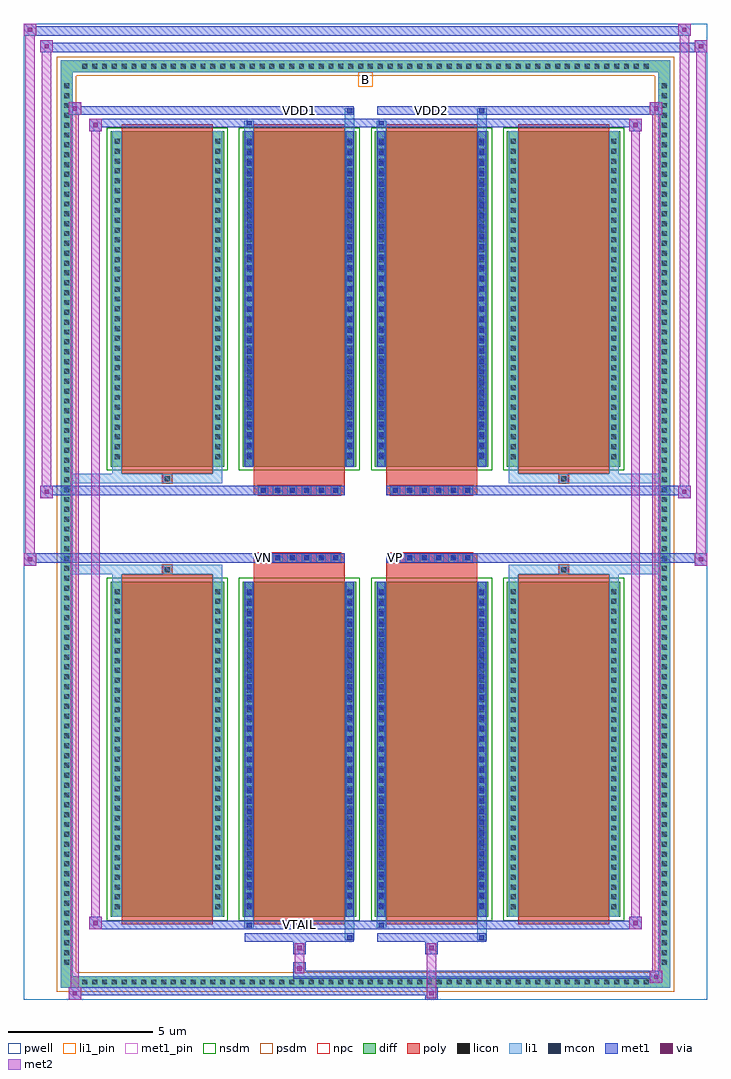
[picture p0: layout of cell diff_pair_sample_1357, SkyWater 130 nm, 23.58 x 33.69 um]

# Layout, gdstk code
import gdstk
lib = gdstk.Library(unit=1e-6, precision=5e-09)
def R(c, l, rs):  # rectangles x0, y0, x1, y1
    for r in rs: c.add(gdstk.rectangle(r[:2], r[2:], *l))
def A(c, l, x, y, w, h, nx, ny, dx, dy):  # array of equal rectangles
    R(c, l, [(x+i*dx, y+j*dy, x+i*dx+w, y+j*dy+h) for i in range(nx) for j in range(ny)])
def P(c, l, *ps):  # polygons
    for p in ps: c.add(gdstk.Polygon(p, *l))
pwell = (64, 44)
diff = (65, 20)
poly = (66, 20)
licon = (66, 44)
li1_pin = (67, 16)
li1 = (67, 20)
mcon = (67, 44)
met1_pin = (68, 16)
met1 = (68, 20)
via = (68, 44)
met2 = (69, 20)
nsdm = (93, 44)
psdm = (94, 20)
npc = (95, 20)

diff_pair_sample_1357 = lib.new_cell('diff_pair_sample_1357')
R(diff_pair_sample_1357, pwell, [(-11.79,-16.41,11.79,17.28), (-9.11,-14.6,-0.01,-0.8), (0.01,-14.6,9.11,-0.8), (-9.11,0.8,-0.01,14.6), (0.01,0.8,9.11,14.6)])
A(diff_pair_sample_1357, diff, -9.895, -16.01, 0.41, 0.41, 58, 2, 0.34, 31.61)
A(diff_pair_sample_1357, diff, -10.52, -15.335, 0.41, 0.41, 1, 90, 0, 0.34)
A(diff_pair_sample_1357, diff, 10.11, -15.335, 0.41, 0.41, 1, 90, 0, 0.34)
A(diff_pair_sample_1357, diff, -8.8, -13.555, 3.92, 11.57, 4, 2, 4.56, 15.54)
R(diff_pair_sample_1357, diff, [(-9.895,-16.01,9.895,-15.6), (-10.52,-15.335,-10.11,15.335), (10.11,-15.335,10.52,15.335), (-9.895,15.6,9.895,16.01)])
P(diff_pair_sample_1357, diff, [(10.52,16.01),(-10.52,16.01),(-10.52,-15.6),(-10.11,-15.6),(-10.11,15.6),(10.11,15.6),(10.11,-15.6),(-10.11,-15.6),(-10.52,-15.6),(-10.52,-16.01),(10.52,-16.01)])
A(diff_pair_sample_1357, poly, -8.41, -13.805, 3.14, 12.07, 4, 2, 4.56, 15.54)
A(diff_pair_sample_1357, poly, -3.695, -1.33, 0.33, 0.33, 6, 2, 0.5, 2.33)
A(diff_pair_sample_1357, poly, 0.865, -1.33, 0.33, 0.33, 6, 2, 0.5, 2.33)
R(diff_pair_sample_1357, poly, [(-7.005,-1.735,-6.675,-1.405), (-7.005,-1.735,-6.675,-1.405), (-3.85,-1.735,-0.71,-1.33), (0.71,-1.735,3.85,-1.33), (6.675,-1.735,7.005,-1.405), (6.675,-1.735,7.005,-1.405), (-3.85,-1.33,-0.71,-1), (0.71,-1.33,3.85,-1), (-3.85,1,-0.71,1.33), (0.71,1,3.85,1.33), (-3.85,1.33,-0.71,1.735), (0.71,1.33,3.85,1.735), (-7.005,1.405,-6.675,1.735), (-7.005,1.405,-6.675,1.735), (6.675,1.405,7.005,1.735), (6.675,1.405,7.005,1.735)])
A(diff_pair_sample_1357, licon, -9.775, -15.89, 0.17, 0.17, 58, 2, 0.34, 31.61)
A(diff_pair_sample_1357, licon, -10.4, -15.215, 0.17, 0.17, 1, 90, 0, 0.34)
A(diff_pair_sample_1357, licon, 10.23, -15.215, 0.17, 0.17, 1, 90, 0, 0.34)
A(diff_pair_sample_1357, licon, -8.66, -13.295, 0.17, 0.17, 1, 33, 0, 0.34)
A(diff_pair_sample_1357, licon, -5.19, -13.295, 0.17, 0.17, 1, 33, 0, 0.34)
A(diff_pair_sample_1357, licon, -4.1, -13.295, 0.17, 0.17, 1, 33, 0, 0.34)
A(diff_pair_sample_1357, licon, -0.63, -13.295, 0.17, 0.17, 1, 33, 0, 0.34)
A(diff_pair_sample_1357, licon, 0.46, -13.295, 0.17, 0.17, 1, 33, 0, 0.34)
A(diff_pair_sample_1357, licon, 3.93, -13.295, 0.17, 0.17, 1, 33, 0, 0.34)
A(diff_pair_sample_1357, licon, 5.02, -13.295, 0.17, 0.17, 1, 33, 0, 0.34)
A(diff_pair_sample_1357, licon, 8.49, -13.295, 0.17, 0.17, 1, 33, 0, 0.34)
A(diff_pair_sample_1357, licon, -3.615, -1.25, 0.17, 0.17, 6, 2, 0.5, 2.33)
A(diff_pair_sample_1357, licon, 0.945, -1.25, 0.17, 0.17, 6, 2, 0.5, 2.33)
A(diff_pair_sample_1357, licon, -8.66, 2.245, 0.17, 0.17, 1, 33, 0, 0.34)
A(diff_pair_sample_1357, licon, -5.19, 2.245, 0.17, 0.17, 1, 33, 0, 0.34)
A(diff_pair_sample_1357, licon, -4.1, 2.245, 0.17, 0.17, 1, 33, 0, 0.34)
A(diff_pair_sample_1357, licon, -0.63, 2.245, 0.17, 0.17, 1, 33, 0, 0.34)
A(diff_pair_sample_1357, licon, 0.46, 2.245, 0.17, 0.17, 1, 33, 0, 0.34)
A(diff_pair_sample_1357, licon, 3.93, 2.245, 0.17, 0.17, 1, 33, 0, 0.34)
A(diff_pair_sample_1357, licon, 5.02, 2.245, 0.17, 0.17, 1, 33, 0, 0.34)
A(diff_pair_sample_1357, licon, 8.49, 2.245, 0.17, 0.17, 1, 33, 0, 0.34)
R(diff_pair_sample_1357, licon, [(-6.925,-1.655,-6.755,-1.485), (6.755,-1.655,6.925,-1.485), (-6.925,1.485,-6.755,1.655), (6.755,1.485,6.925,1.655)])
R(diff_pair_sample_1357, li1_pin, [(-0.25,15.1,0.25,15.6)])
A(diff_pair_sample_1357, li1, -9.855, -15.97, 0.33, 0.33, 58, 2, 0.34, 31.61)
A(diff_pair_sample_1357, li1, -10.48, -15.295, 0.33, 0.33, 1, 90, 0, 0.34)
A(diff_pair_sample_1357, li1, 10.15, -15.295, 0.33, 0.33, 1, 90, 0, 0.34)
A(diff_pair_sample_1357, li1, -8.74, -13.375, 0.33, 0.33, 1, 33, 0, 0.34)
A(diff_pair_sample_1357, li1, -5.27, -13.375, 0.33, 0.33, 1, 33, 0, 0.34)
A(diff_pair_sample_1357, li1, -4.18, -13.375, 0.33, 0.33, 1, 33, 0, 0.34)
A(diff_pair_sample_1357, li1, -0.71, -13.375, 0.33, 0.33, 1, 33, 0, 0.34)
A(diff_pair_sample_1357, li1, 0.38, -13.375, 0.33, 0.33, 1, 33, 0, 0.34)
A(diff_pair_sample_1357, li1, 3.85, -13.375, 0.33, 0.33, 1, 33, 0, 0.34)
A(diff_pair_sample_1357, li1, 4.94, -13.375, 0.33, 0.33, 1, 33, 0, 0.34)
A(diff_pair_sample_1357, li1, 8.41, -13.375, 0.33, 0.33, 1, 33, 0, 0.34)
A(diff_pair_sample_1357, li1, -4.1, -13.255, 0.17, 0.17, 1, 31, 0, 0.36)
A(diff_pair_sample_1357, li1, -0.63, -13.255, 0.17, 0.17, 1, 31, 0, 0.36)
A(diff_pair_sample_1357, li1, 0.46, -13.255, 0.17, 0.17, 1, 31, 0, 0.36)
A(diff_pair_sample_1357, li1, 3.93, -13.255, 0.17, 0.17, 1, 31, 0, 0.36)
A(diff_pair_sample_1357, li1, -3.695, -1.33, 0.33, 0.33, 6, 2, 0.5, 2.33)
A(diff_pair_sample_1357, li1, 0.865, -1.33, 0.33, 0.33, 6, 2, 0.5, 2.33)
A(diff_pair_sample_1357, li1, -8.74, 2.165, 0.33, 0.33, 1, 33, 0, 0.34)
A(diff_pair_sample_1357, li1, -5.27, 2.165, 0.33, 0.33, 1, 33, 0, 0.34)
A(diff_pair_sample_1357, li1, -4.18, 2.165, 0.33, 0.33, 1, 33, 0, 0.34)
A(diff_pair_sample_1357, li1, -0.71, 2.165, 0.33, 0.33, 1, 33, 0, 0.34)
A(diff_pair_sample_1357, li1, 0.38, 2.165, 0.33, 0.33, 1, 33, 0, 0.34)
A(diff_pair_sample_1357, li1, 3.85, 2.165, 0.33, 0.33, 1, 33, 0, 0.34)
A(diff_pair_sample_1357, li1, 4.94, 2.165, 0.33, 0.33, 1, 33, 0, 0.34)
A(diff_pair_sample_1357, li1, 8.41, 2.165, 0.33, 0.33, 1, 33, 0, 0.34)
A(diff_pair_sample_1357, li1, -4.1, 2.285, 0.17, 0.17, 1, 31, 0, 0.36)
A(diff_pair_sample_1357, li1, -0.63, 2.285, 0.17, 0.17, 1, 31, 0, 0.36)
A(diff_pair_sample_1357, li1, 0.46, 2.285, 0.17, 0.17, 1, 31, 0, 0.36)
A(diff_pair_sample_1357, li1, 3.93, 2.285, 0.17, 0.17, 1, 31, 0, 0.36)
R(diff_pair_sample_1357, li1, [(-10.52,-16.01,-10.11,-15.6), (-10.52,-16.01,-10.11,-15.6), (-10.11,-16.01,10.11,-15.6), (10.11,-16.01,10.52,-15.6), (10.11,-16.01,10.52,-15.6), (-10.52,-15.6,-10.11,15.6), (10.11,-15.6,10.52,15.6), (-0.71,-14.36,-0.38,-13.555), (-0.63,-14.36,-0.46,-14.19), (3.85,-14.36,4.18,-13.555), (3.93,-14.36,4.1,-14.19), (-4.18,-13.93,-3.85,-13.555), (-4.1,-13.93,-3.93,-13.76), (0.38,-13.93,0.71,-13.555), (0.46,-13.93,0.63,-13.76), (-8.74,-13.555,-8.41,-1.985), (-5.27,-13.555,-4.94,-1.985), (-4.18,-13.555,-3.85,-1.985), (-0.71,-13.555,-0.38,-1.985), (0.38,-13.555,0.71,-1.985), (3.85,-13.555,4.18,-1.985), (4.94,-13.555,5.27,-1.985), (8.41,-13.555,8.74,-1.985), (-4.1,-13.255,-3.93,-2.285), (-0.63,-13.255,-0.46,-2.285), (0.46,-13.255,0.63,-2.285), (3.93,-13.255,4.1,-2.285), (-8.74,-1.985,-8.41,-1.405), (-5.27,-1.985,-4.94,-1.405), (4.94,-1.985,5.27,-1.405), (8.41,-1.985,8.74,-1.405), (-10.52,-1.735,-7.005,-1.405), (-8.74,-1.735,-7.005,-1.405), (-7.005,-1.735,-6.675,-1.405), (-6.675,-1.735,-4.94,-1.405), (4.94,-1.735,6.675,-1.405), (6.675,-1.735,7.005,-1.405), (6.675,-1.735,10.52,-1.405), (7.005,-1.735,8.74,-1.405), (-10.52,1.405,-7.005,1.735), (-8.74,1.405,-7.005,1.735), (-8.74,1.405,-8.41,1.985), (-7.005,1.405,-6.675,1.735), (-6.675,1.405,-4.94,1.735), (-5.27,1.405,-4.94,1.985), (4.94,1.405,6.675,1.735), (4.94,1.405,5.27,1.985), (6.675,1.405,7.005,1.735), (6.675,1.405,10.52,1.735), (7.005,1.405,8.74,1.735), (8.41,1.405,8.74,1.985), (-8.74,1.985,-8.41,13.555), (-5.27,1.985,-4.94,13.555), (-4.18,1.985,-3.85,13.555), (-0.71,1.985,-0.38,13.555), (0.38,1.985,0.71,13.555), (3.85,1.985,4.18,13.555), (4.94,1.985,5.27,13.555), (8.41,1.985,8.74,13.555), (-4.1,2.285,-3.93,13.255), (-0.63,2.285,-0.46,13.255), (0.46,2.285,0.63,13.255), (3.93,2.285,4.1,13.255), (-4.18,13.555,-3.85,13.93), (-0.71,13.555,-0.38,14.36), (0.38,13.555,0.71,13.93), (3.85,13.555,4.18,14.36), (-4.1,13.76,-3.93,13.93), (0.46,13.76,0.63,13.93), (-0.63,14.19,-0.46,14.36), (3.93,14.19,4.1,14.36), (-10.52,15.6,-10.11,16.01), (-10.52,15.6,-10.11,16.01), (-10.11,15.6,10.11,16.01), (10.11,15.6,10.52,16.01), (10.11,15.6,10.52,16.01)])
A(diff_pair_sample_1357, mcon, -4.1, -13.255, 0.17, 0.17, 1, 31, 0, 0.36)
A(diff_pair_sample_1357, mcon, -0.63, -13.255, 0.17, 0.17, 1, 31, 0, 0.36)
A(diff_pair_sample_1357, mcon, 0.46, -13.255, 0.17, 0.17, 1, 31, 0, 0.36)
A(diff_pair_sample_1357, mcon, 3.93, -13.255, 0.17, 0.17, 1, 31, 0, 0.36)
A(diff_pair_sample_1357, mcon, -3.615, -1.25, 0.17, 0.17, 6, 2, 0.5, 2.33)
A(diff_pair_sample_1357, mcon, 0.945, -1.25, 0.17, 0.17, 6, 2, 0.5, 2.33)
A(diff_pair_sample_1357, mcon, -4.1, 2.285, 0.17, 0.17, 1, 31, 0, 0.36)
A(diff_pair_sample_1357, mcon, -0.63, 2.285, 0.17, 0.17, 1, 31, 0, 0.36)
A(diff_pair_sample_1357, mcon, 0.46, 2.285, 0.17, 0.17, 1, 31, 0, 0.36)
A(diff_pair_sample_1357, mcon, 3.93, 2.285, 0.17, 0.17, 1, 31, 0, 0.36)
R(diff_pair_sample_1357, mcon, [(-0.63,-14.36,-0.46,-14.19), (3.93,-14.36,4.1,-14.19), (-4.1,-13.93,-3.93,-13.76), (0.46,-13.93,0.63,-13.76), (-4.1,13.76,-3.93,13.93), (0.46,13.76,0.63,13.93), (-0.63,14.19,-0.46,14.36), (3.93,14.19,4.1,14.36)])
R(diff_pair_sample_1357, met1_pin, [(-2.415,-13.97,-2.145,-13.7), (-3.665,-1.29,-3.395,-1.02), (0.895,-1.29,1.165,-1.02), (-2.415,14.15,-2.145,14.42), (2.145,14.15,2.415,14.42)])
A(diff_pair_sample_1357, met1, -4.16, -13.315, 0.29, 0.29, 1, 31, 0, 0.36)
A(diff_pair_sample_1357, met1, -0.69, -13.315, 0.29, 0.29, 1, 31, 0, 0.36)
A(diff_pair_sample_1357, met1, 0.4, -13.315, 0.29, 0.29, 1, 31, 0, 0.36)
A(diff_pair_sample_1357, met1, 3.87, -13.315, 0.29, 0.29, 1, 31, 0, 0.36)
A(diff_pair_sample_1357, met1, -3.675, -1.31, 0.29, 0.29, 6, 2, 0.5, 2.33)
A(diff_pair_sample_1357, met1, 0.885, -1.31, 0.29, 0.29, 6, 2, 0.5, 2.33)
A(diff_pair_sample_1357, met1, -4.16, 2.225, 0.29, 0.29, 1, 31, 0, 0.36)
A(diff_pair_sample_1357, met1, -0.69, 2.225, 0.29, 0.29, 1, 31, 0, 0.36)
A(diff_pair_sample_1357, met1, 0.4, 2.225, 0.29, 0.29, 1, 31, 0, 0.36)
A(diff_pair_sample_1357, met1, 3.87, 2.225, 0.29, 0.29, 1, 31, 0, 0.36)
R(diff_pair_sample_1357, met1, [(-10.25,-16.41,-9.82,-15.98), (2.065,-16.41,2.495,-15.98), (-10.25,-16.27,2.495,-15.98), (9.82,-15.84,10.25,-15.41), (-2.495,-15.7,10.25,-15.41), (-2.495,-15.56,-2.065,-15.13), (-2.495,-14.85,-2.065,-14.42), (2.065,-14.85,2.495,-14.42), (-4.16,-14.42,-0.4,-14.13), (-0.69,-14.42,-0.4,-14.13), (0.4,-14.42,4.16,-14.13), (3.87,-14.42,4.16,-14.13), (-9.54,-13.99,-9.11,-13.56), (-9.54,-13.99,-4.16,-13.7), (-4.16,-13.99,-3.87,-13.7), (-4.16,-13.99,-0.4,-13.7), (-0.4,-13.99,0.4,-13.7), (0.4,-13.99,0.69,-13.7), (0.4,-13.99,4.16,-13.7), (4.16,-13.99,9.54,-13.7), (9.11,-13.99,9.54,-13.56), (-4.16,-13.555,-3.87,-1.985), (-0.69,-13.555,-0.4,-1.985), (0.4,-13.555,0.69,-1.985), (3.87,-13.555,4.16,-1.985), (-11.79,-1.43,-11.36,-1), (11.36,-1.43,11.79,-1), (-11.79,-1.33,-0.71,-1), (-3.85,-1.33,-0.71,-1), (0.71,-1.33,3.85,-1), (0.71,-1.33,11.79,-1), (-11.22,0.9,-10.79,1.33), (10.79,0.9,11.22,1.33), (-11.22,1,-3.85,1.33), (-3.85,1,-0.71,1.33), (0.71,1,3.85,1.33), (3.85,1,11.22,1.33), (-4.16,1.985,-3.87,13.555), (-0.69,1.985,-0.4,13.555), (0.4,1.985,0.69,13.555), (3.87,1.985,4.16,13.555), (-9.54,13.56,-9.11,13.99), (9.11,13.56,9.54,13.99), (-9.54,13.7,-4.16,13.99), (-4.16,13.7,-3.87,13.99), (-4.16,13.7,-0.4,13.99), (-0.4,13.7,0.4,13.99), (0.4,13.7,0.69,13.99), (0.4,13.7,4.16,13.99), (4.16,13.7,9.54,13.99), (-10.25,14.13,-9.82,14.56), (-10.25,14.13,-4.16,14.42), (-4.16,14.13,-0.4,14.42), (-0.69,14.13,-0.4,14.42), (0.4,14.13,4.16,14.42), (3.87,14.13,4.16,14.42), (4.16,14.13,10.25,14.42), (9.82,14.13,10.25,14.56), (-11.22,16.28,-10.79,16.71), (-11.22,16.28,-9.11,16.61), (-9.11,16.28,9.11,16.61), (9.11,16.28,11.79,16.61), (11.36,16.28,11.79,16.71), (-11.79,16.85,-11.36,17.28), (-11.79,16.85,-9.11,17.18), (-9.11,16.85,9.11,17.18), (9.11,16.85,11.22,17.18), (10.79,16.85,11.22,17.28)])
R(diff_pair_sample_1357, via, [(-10.11,-16.27,-9.96,-16.12), (2.205,-16.27,2.355,-16.12), (9.96,-15.7,10.11,-15.55), (-2.355,-15.42,-2.205,-15.27), (-2.355,-14.71,-2.205,-14.56), (2.205,-14.71,2.355,-14.56), (-9.4,-13.85,-9.25,-13.7), (9.25,-13.85,9.4,-13.7), (-11.65,-1.29,-11.5,-1.14), (11.5,-1.29,11.65,-1.14), (-11.08,1.04,-10.93,1.19), (10.93,1.04,11.08,1.19), (-9.4,13.7,-9.25,13.85), (9.25,13.7,9.4,13.85), (-10.11,14.27,-9.96,14.42), (9.96,14.27,10.11,14.42), (-11.08,16.42,-10.93,16.57), (11.5,16.42,11.65,16.57), (-11.65,16.99,-11.5,17.14), (10.93,16.99,11.08,17.14)])
R(diff_pair_sample_1357, met2, [(-10.25,-16.41,-9.82,-15.98), (-10.18,-16.41,-9.89,14.56), (-9.89,-16.41,-9.82,-15.98), (-10.2,-16.36,-9.87,-16.03), (2.115,-16.36,2.445,-16.03), (2.115,-16.03,2.445,-14.8), (9.82,-15.84,10.25,-15.41), (9.89,-15.84,10.18,14.56), (10.18,-15.84,10.25,-15.41), (9.87,-15.79,10.2,-15.46), (-2.445,-15.51,-2.115,-15.18), (-2.445,-15.18,-2.115,-14.8), (-2.445,-14.8,-2.115,-14.47), (2.115,-14.8,2.445,-14.47), (-9.54,-13.99,-9.11,-13.56), (-9.47,-13.99,-9.18,13.99), (-9.18,-13.99,-9.11,-13.56), (9.11,-13.99,9.54,-13.56), (9.18,-13.99,9.47,13.99), (9.47,-13.99,9.54,-13.56), (-9.49,-13.94,-9.16,-13.61), (9.16,-13.94,9.49,-13.61), (-11.79,-1.43,-11.36,-1), (-11.74,-1.43,-11.41,17.28), (-11.41,-1.43,-11.36,-1), (11.36,-1.43,11.79,-1), (11.41,-1.43,11.74,16.71), (11.74,-1.43,11.79,-1), (-11.74,-1.38,-11.41,-1.05), (11.41,-1.38,11.74,-1.05), (-11.22,0.9,-10.79,1.33), (-11.17,0.9,-10.84,16.71), (-10.84,0.9,-10.79,1.33), (10.79,0.9,11.22,1.33), (10.84,0.9,11.17,17.28), (11.17,0.9,11.22,1.33), (-11.17,0.95,-10.84,1.28), (10.84,0.95,11.17,1.28), (-9.54,13.56,-9.11,13.99), (-9.18,13.56,-9.11,13.99), (9.11,13.56,9.54,13.99), (9.47,13.56,9.54,13.99), (-9.49,13.61,-9.16,13.94), (9.16,13.61,9.49,13.94), (-10.25,14.13,-9.82,14.56), (-9.89,14.13,-9.82,14.56), (9.82,14.13,10.25,14.56), (10.18,14.13,10.25,14.56), (-10.2,14.18,-9.87,14.51), (9.87,14.18,10.2,14.51), (-11.22,16.28,-10.79,16.71), (-10.84,16.28,-10.79,16.71), (11.36,16.28,11.79,16.71), (11.74,16.28,11.79,16.71), (-11.17,16.33,-10.84,16.66), (11.41,16.33,11.74,16.66), (-11.79,16.85,-11.36,17.28), (-11.41,16.85,-11.36,17.28), (10.79,16.85,11.22,17.28), (11.17,16.85,11.22,17.28), (-11.74,16.9,-11.41,17.23), (10.84,16.9,11.17,17.23)])
A(diff_pair_sample_1357, nsdm, -8.93, -13.685, 4.18, 11.83, 4, 2, 4.56, 15.54)
P(diff_pair_sample_1357, psdm, [(10.65,16.14),(-10.65,16.14),(-10.65,-15.47),(-9.98,-15.47),(-9.98,15.47),(9.98,15.47),(9.98,-15.47),(-9.98,-15.47),(-10.65,-15.47),(-10.65,-16.14),(10.65,-16.14)])
A(diff_pair_sample_1357, npc, -3.715, -1.35, 0.37, 0.37, 6, 2, 0.5, 2.33)
A(diff_pair_sample_1357, npc, 0.845, -1.35, 0.37, 0.37, 6, 2, 0.5, 2.33)
R(diff_pair_sample_1357, npc, [(-7.025,-1.755,-6.655,-1.385), (6.655,-1.755,7.025,-1.385), (-3.715,-1.35,-2.845,-0.98), (-3.715,-1.35,-2.845,-0.98), (-3.215,-1.35,-2.345,-0.98), (-3.215,-1.35,-2.345,-0.98), (-2.715,-1.35,-1.845,-0.98), (-2.715,-1.35,-1.845,-0.98), (-2.215,-1.35,-1.345,-0.98), (-2.215,-1.35,-1.345,-0.98), (-1.715,-1.35,-0.845,-0.98), (-1.715,-1.35,-0.845,-0.98), (0.845,-1.35,1.715,-0.98), (0.845,-1.35,1.715,-0.98), (1.345,-1.35,2.215,-0.98), (1.345,-1.35,2.215,-0.98), (1.845,-1.35,2.715,-0.98), (1.845,-1.35,2.715,-0.98), (2.345,-1.35,3.215,-0.98), (2.345,-1.35,3.215,-0.98), (2.845,-1.35,3.715,-0.98), (2.845,-1.35,3.715,-0.98), (-3.715,0.98,-2.845,1.35), (-3.715,0.98,-2.845,1.35), (-3.215,0.98,-2.345,1.35), (-3.215,0.98,-2.345,1.35), (-2.715,0.98,-1.845,1.35), (-2.715,0.98,-1.845,1.35), (-2.215,0.98,-1.345,1.35), (-2.215,0.98,-1.345,1.35), (-1.715,0.98,-0.845,1.35), (-1.715,0.98,-0.845,1.35), (0.845,0.98,1.715,1.35), (0.845,0.98,1.715,1.35), (1.345,0.98,2.215,1.35), (1.345,0.98,2.215,1.35), (1.845,0.98,2.715,1.35), (1.845,0.98,2.715,1.35), (2.345,0.98,3.215,1.35), (2.345,0.98,3.215,1.35), (2.845,0.98,3.715,1.35), (2.845,0.98,3.715,1.35), (-7.025,1.385,-6.655,1.755), (6.655,1.385,7.025,1.755)])
diff_pair_sample_1357.add(gdstk.Label('VTAIL', (-2.28,-13.835), layer=68, texttype=5))
diff_pair_sample_1357.add(gdstk.Label('VN', (-3.53,-1.155), layer=68, texttype=5))
diff_pair_sample_1357.add(gdstk.Label('VP', (1.03,-1.155), layer=68, texttype=5))
diff_pair_sample_1357.add(gdstk.Label('B', (0,15.35), layer=67, texttype=5))
diff_pair_sample_1357.add(gdstk.Label('VDD2', (2.28,14.285), layer=68, texttype=5))
diff_pair_sample_1357.add(gdstk.Label('VDD1', (-2.28,14.285), layer=68, texttype=5))

lib.write_gds('diff_pair_sample_1357.gds')
